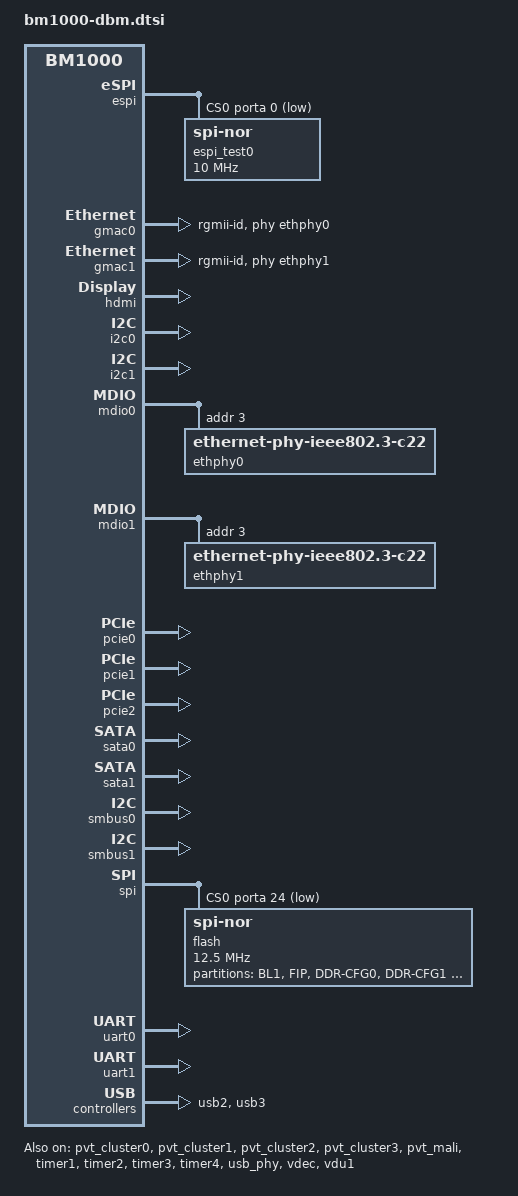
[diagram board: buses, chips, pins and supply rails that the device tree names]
// SPDX-License-Identifier: GPL-2.0
/*
 * Device tree source for Baikal Electronics DBM boards
 * Copyright (C) 2019-2024 Baikal Electronics, JSC
 */

#include "bm1000.dtsi"
#include "bm1000-dbm-mezzanine-multimedia.dtsi"
#include "bm1000-dbm-mezzanine-xgbe-krkx4.dtsi"

/ {
	aliases {
		ethernet0 = &gmac0;
		ethernet1 = &gmac1;
	};

	chosen { };
};

&dmac_lsp {
	status = "okay";
};

&dmac_m2m {
	status = "okay";
};

&espi {
	status = "okay";
	num-cs = <8>;
	cs-gpios = <&porta 0 GPIO_ACTIVE_LOW>;

	espi_test0@0 {
		compatible = "jedec,spi-nor";
		reg = <0>; /* CS #0 */
		#address-cells = <1>;
		#size-cells = <1>;
		spi-max-frequency = <10000000>;
		spi-cpha;
		spi-tx-bus-width = <1>;
		spi-rx-bus-width = <1>;
		status = "okay";
	};
};

&gmac0 {
	status = "okay";
	phy-handle = <&ethphy0>;
	phy-mode = "rgmii-id";
};

&gmac1 {
	status = "okay";
	phy-handle = <&ethphy1>;
	phy-mode = "rgmii-id";
};

&gpio32 {
	status = "okay";
};

&hdmi {
	status = "okay";
};

&i2c0 {
	status = "okay";
};

&i2c1 {
	status = "okay";
};

&mdio0 {
	ethphy0: ethernet-phy@3 {
		compatible = "ethernet-phy-ieee802.3-c22";
		reg = <0x3>;
		txd0-skew-ps = <0>;
		txd1-skew-ps = <0>;
		txd2-skew-ps = <0>;
		txd3-skew-ps = <0>;
		txc-skew-ps = <0xff>;
	};
};

&mdio1 {
	ethphy1: ethernet-phy@3 {
		compatible = "ethernet-phy-ieee802.3-c22";
		reg = <0x3>;
		txd0-skew-ps = <0>;
		txd1-skew-ps = <0>;
		txd2-skew-ps = <0>;
		txd3-skew-ps = <0>;
		txc-skew-ps = <0xff>;
	};
};

&pcie0 {
	status = "okay";
	bm1000,gen3-eq-fb-mode = <0>;
	bm1000,phy-rx-ctle = <0xf4>;
	bm1000,phy-rx-dfe = <0>;
};

&pcie1 {
	status = "okay";
	bm1000,gen3-eq-fb-mode = <0>;
	bm1000,phy-rx-ctle = <0x64>;
	bm1000,phy-rx-dfe = <0>;
};

&pcie2 {
	status = "okay";
	bm1000,gen3-eq-fb-mode = <0>;
	bm1000,phy-rx-ctle = <0x34>;
	bm1000,phy-rx-dfe = <0>;
};

&pvt_cluster0 {
	status = "okay";
};

&pvt_cluster1 {
	status = "okay";
};

&pvt_cluster2 {
	status = "okay";
};

&pvt_cluster3 {
	status = "okay";
};

&pvt_mali {
	status = "okay";
};

&sata0 {
	status = "okay";
};

&sata1 {
	status = "okay";
};

&smbus0 {
	status = "okay";
};

&smbus1 {
	status = "okay";
};

&spi {
	status = "okay";
	num-cs = <4>;
	cs-gpios = <&porta 24 GPIO_ACTIVE_LOW>, /* SS0 XP8 - DD53 normal flash */
		   <&porta 25 GPIO_ACTIVE_LOW>, /* SS1 XP9 */
		   <&porta 26 GPIO_ACTIVE_LOW>, /* SS2 XP10 */
		   <&porta 27 GPIO_ACTIVE_LOW>; /* SS3 XP11 */

	flash@0 {
		compatible = "jedec,spi-nor";
		reg = <0>;
		spi-max-frequency = <12500000>;
		spi-tx-bus-width = <1>;
		spi-rx-bus-width = <1>;
		status = "okay";

		partitions {
			compatible = "fixed-partitions";
			#address-cells = <1>;
			#size-cells = <1>;

			partition@0 {
				label = "BL1";
				reg = <0x000000 0x10000>;
			};

			partition@40000 {
				label = "FIP";
				reg = <0x40000 0x200000>;
			};

			partition@240000 {
				label = "DDR-CFG0";
				reg = <0x240000 0x40000>;
			};

			partition@280000 {
				label = "DDR-CFG1";
				reg = <0x280000 0x40000>;
			};

			partition@2c0000 {
				label = "UEFI vars";
				reg = <0x2c0000 0xc0000>;
			};
		};
	};
};

&timer1 {
	status = "okay";
};

&timer2 {
	status = "okay";
};

&timer3 {
	status = "okay";
};

&timer4 {
	status = "okay";
};

&uart0 {
	status = "okay";
};

&uart1 {
	status = "okay";
};

&usb2 {
	status = "okay";
};

&usb3 {
	status = "okay";
};

&usb_phy {
	status = "okay";
};

&vdec {
	status = "okay";
};

&vdu1 {
	status = "okay";
};
